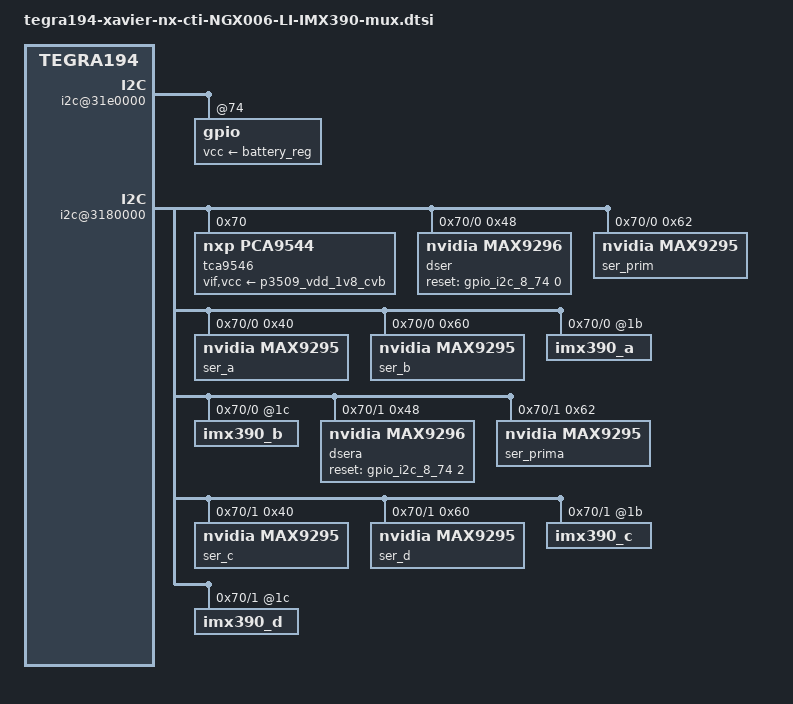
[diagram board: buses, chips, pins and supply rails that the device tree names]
/*
 * Copyright (c) 2018-2019, NVIDIA CORPORATION.  All rights reserved.
 *
 * This program is free software; you can redistribute it and/or modify
 * it under the terms of the GNU General Public License as published by
 * the Free Software Foundation; either version 2 of the License, or
 * (at your option) any later version.
 *
 * This program is distributed in the hope that it will be useful, but WITHOUT
 * ANY WARRANTY; without even the implied warranty of MERCHANTABILITY or
 * FITNESS FOR A PARTICULAR PURPOSE.  See the GNU General Public License for
 * more details.
 *
 * You should have received a copy of the GNU General Public License
 * along with this program.  If not, see <http://www.gnu.org/licenses/>.
 */
#include "tegra194-xavier-nx-cti-NGX006-LI-IMX390.dtsi"


#define CAM_I2C_MUX 	TEGRA194_AON_GPIO(CC, 3)
#define CAMERA_I2C_MUX_BUS(x) (0x1E + x)

/* camera control gpio definitions */

/ {
	i2c@31e0000 {
	
		gpio@74{    //Camera GPIO
            status = "okay";
            vcc-supply = <&battery_reg>;

            camera-rst{
                gpio-hog;
                output-low;
                gpios = <0 0 2 0 >;
                label = "des_a_rst", "des_b_rst";
            };
        };
	};
	
	i2c@3180000 {
		tca9546@70 {
			compatible = "nxp,pca9544";
			reg = <0x70>;
			#address-cells = <1>;
			#size-cells = <0>;			
			skip_mux_detect = "yes";
			vif-supply = <&p3509_vdd_1v8_cvb>;
			vcc-supply = <&p3509_vdd_1v8_cvb>;
			vcc_lp = "vcc";

			i2c@0 {
				reg = <0>;	
				i2c-mux,deselect-on-exit;
				#address-cells = <1>;
				#size-cells = <0>;
				dser: max9296@48 {
					compatible = "nvidia,max9296";
					reg = <0x48>;
					csi-mode = "2x4";
					max-src = <2>;
					reset-gpios = <&gpio_i2c_8_74 0 GPIO_ACTIVE_HIGH>;
				};
				ser_prim: max9295_prim@62 {
					compatible = "nvidia,max9295";
					reg = <0x62>;
					is-prim-ser;
				};
				ser_a: max9295_a@40 {
					compatible = "nvidia,max9295";
					reg = <0x40>;
					nvidia,gmsl-dser-device = <&dser>;
				};
				ser_b: max9295_b@60 {
					compatible = "nvidia,max9295";
					reg = <0x60>;
					nvidia,gmsl-dser-device = <&dser>;
				};
				imx390_a@1b {
					def-addr = <0x21>;
					/* Define any required hw resources needed by driver */				
					/* ie. clocks, io pins, power sources */
					clocks = <&bpmp_clks TEGRA194_CLK_EXTPERIPH1>,
							<&bpmp_clks TEGRA194_CLK_EXTPERIPH1>;
					clock-names = "extperiph1", "pllp_grtba";
					mclk = "extperiph1";
					nvidia,gmsl-ser-device = <&ser_a>;
					nvidia,gmsl-dser-device = <&dser>;
				};
				imx390_b@1c {
					def-addr = <0x21>;
					/* Define any required hw resources needed by driver */
									/* ie. clocks, io pins, power sources */
					clocks = <&bpmp_clks TEGRA194_CLK_EXTPERIPH1>,
							<&bpmp_clks TEGRA194_CLK_EXTPERIPH1>;
					clock-names = "extperiph1", "pllp_grtba";
					mclk = "extperiph1";
					nvidia,gmsl-ser-device = <&ser_b>;
					nvidia,gmsl-dser-device = <&dser>;
				};
			};
			i2c@1 {
				reg = <1>;
				i2c-mux,deselect-on-exit;
				#address-cells = <1>;
				#size-cells = <0>;
				dsera: max9296@48 {
					compatible = "nvidia,max9296";
					reg = <0x48>;
					csi-mode = "2x4";
					max-src = <2>;
					reset-gpios = <&gpio_i2c_8_74 2 GPIO_ACTIVE_HIGH>;
				};
				ser_prima: max9295_prim@62 {
					compatible = "nvidia,max9295";
					reg = <0x62>;
					is-prim-ser;
				};
				ser_c: max9295_a@40 {
					compatible = "nvidia,max9295";
					reg = <0x40>;
					nvidia,gmsl-dser-device = <&dsera>;
				};
				ser_d: max9295_b@60 {
					compatible = "nvidia,max9295";
					reg = <0x60>;
					nvidia,gmsl-dser-device = <&dsera>;
				};
				imx390_c@1b {
					def-addr = <0x21>;
					/* Define any required hw resources needed by driver */
									/* ie. clocks, io pins, power sources */
					clocks = <&bpmp_clks TEGRA194_CLK_EXTPERIPH1>,
							<&bpmp_clks TEGRA194_CLK_EXTPERIPH1>;
					clock-names = "extperiph1", "pllp_grtba";
					mclk = "extperiph1";
					nvidia,gmsl-ser-device = <&ser_c>;
					nvidia,gmsl-dser-device = <&dsera>;
				};
				imx390_d@1c {
					def-addr = <0x21>;
					/* Define any required hw resources needed by driver */
									/* ie. clocks, io pins, power sources */
					clocks = <&bpmp_clks TEGRA194_CLK_EXTPERIPH1>,
							<&bpmp_clks TEGRA194_CLK_EXTPERIPH1>;
					clock-names = "extperiph1", "pllp_grtba";
					mclk = "extperiph1";				
					nvidia,gmsl-ser-device = <&ser_d>;
					nvidia,gmsl-dser-device = <&dsera>;
				};
			};
		};
	};
};
